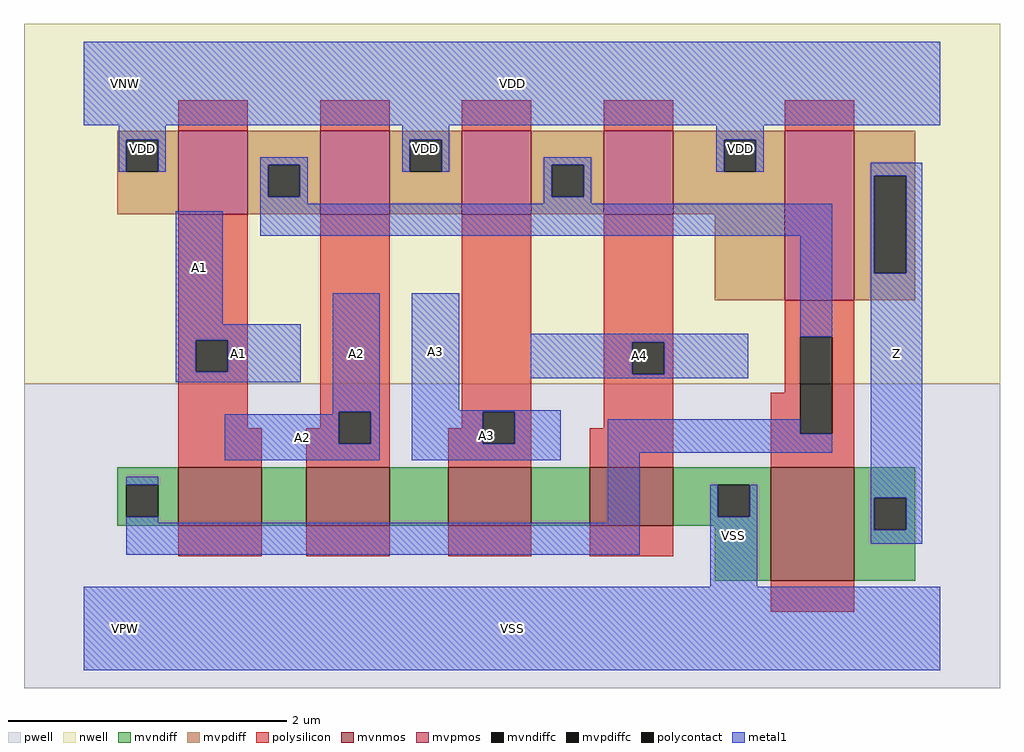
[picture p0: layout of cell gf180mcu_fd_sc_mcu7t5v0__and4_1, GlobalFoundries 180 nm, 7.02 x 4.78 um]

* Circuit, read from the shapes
.subckt gf180mcu_fd_sc_mcu7t5v0__and4_1 A1 A2 A3 A4 Z VDD VNW VPW VSS
XM1 n1 A1 n2 VPW nfet_06v0 w=0.42u l=0.6u
XM2 n3 A2 n1 VPW nfet_06v0 w=0.42u l=0.6u
XM3 n4 A3 n3 VPW nfet_06v0 w=0.42u l=0.6u
XM4 VSS A4 n4 VPW nfet_06v0 w=0.42u l=0.6u
XM5 Z n2 VSS VPW nfet_06v0 w=0.815u l=0.6u
XM6 n2 A1 VDD VNW pfet_06v0 w=0.6u l=0.5u
XM7 VDD A2 n2 VNW pfet_06v0 w=0.6u l=0.5u
XM8 n2 A3 VDD VNW pfet_06v0 w=0.6u l=0.5u
XM9 VDD A4 n2 VNW pfet_06v0 w=0.6u l=0.5u
XM10 Z n2 VDD VNW pfet_06v0 w=1.22u l=0.5u
.ends

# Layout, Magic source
magic
tech gf180mcuD
magscale 1 10
<< nwell >>
rect -86 352 1318 870
<< pwell >>
rect -86 -86 1318 352
<< mvnmos >>
rect 136 148 256 232
rect 320 148 440 232
rect 524 148 644 232
rect 728 148 848 232
rect 988 69 1108 232
<< mvpmos >>
rect 136 596 236 716
rect 340 596 440 716
rect 544 596 644 716
rect 748 596 848 716
rect 1008 472 1108 716
<< mvndiff >>
rect 48 207 136 232
rect 48 161 61 207
rect 107 161 136 207
rect 48 148 136 161
rect 256 148 320 232
rect 440 148 524 232
rect 644 148 728 232
rect 848 207 988 232
rect 848 161 912 207
rect 958 161 988 207
rect 848 148 988 161
rect 908 69 988 148
rect 1108 188 1196 232
rect 1108 142 1137 188
rect 1183 142 1196 188
rect 1108 69 1196 142
<< mvpdiff >>
rect 48 703 136 716
rect 48 657 61 703
rect 107 657 136 703
rect 48 596 136 657
rect 236 667 340 716
rect 236 621 265 667
rect 311 621 340 667
rect 236 596 340 621
rect 440 703 544 716
rect 440 657 469 703
rect 515 657 544 703
rect 440 596 544 657
rect 644 667 748 716
rect 644 621 673 667
rect 719 621 748 667
rect 644 596 748 621
rect 848 703 1008 716
rect 848 657 921 703
rect 967 657 1008 703
rect 848 596 1008 657
rect 908 472 1008 596
rect 1108 651 1196 716
rect 1108 511 1137 651
rect 1183 511 1196 651
rect 1108 472 1196 511
<< mvndiffc >>
rect 61 161 107 207
rect 912 161 958 207
rect 1137 142 1183 188
<< mvpdiffc >>
rect 61 657 107 703
rect 265 621 311 667
rect 469 657 515 703
rect 673 621 719 667
rect 921 657 967 703
rect 1137 511 1183 651
<< polysilicon >>
rect 136 716 236 760
rect 340 716 440 760
rect 544 716 644 760
rect 748 716 848 760
rect 1008 716 1108 760
rect 136 415 236 596
rect 136 369 161 415
rect 207 369 236 415
rect 136 288 236 369
rect 340 312 440 596
rect 340 288 367 312
rect 136 232 256 288
rect 320 266 367 288
rect 413 266 440 312
rect 544 312 644 596
rect 544 288 574 312
rect 320 232 440 266
rect 524 266 574 288
rect 620 266 644 312
rect 748 412 848 596
rect 748 366 789 412
rect 835 366 848 412
rect 748 288 848 366
rect 1008 420 1108 472
rect 1008 339 1031 420
rect 524 232 644 266
rect 728 232 848 288
rect 988 280 1031 339
rect 1077 280 1108 420
rect 988 232 1108 280
rect 136 104 256 148
rect 320 104 440 148
rect 524 104 644 148
rect 728 104 848 148
rect 988 24 1108 69
<< polycontact >>
rect 161 369 207 415
rect 367 266 413 312
rect 574 266 620 312
rect 789 366 835 412
rect 1031 280 1077 420
<< metal1 >>
rect 0 724 1232 844
rect 50 703 118 724
rect 50 657 61 703
rect 107 657 118 703
rect 458 703 526 724
rect 254 667 322 678
rect 254 621 265 667
rect 311 621 322 667
rect 458 657 469 703
rect 515 657 526 703
rect 910 703 978 724
rect 662 667 730 678
rect 254 611 322 621
rect 662 621 673 667
rect 719 621 730 667
rect 910 657 921 703
rect 967 657 978 703
rect 662 611 730 621
rect 1132 651 1206 670
rect 132 438 200 600
rect 254 565 1077 611
rect 132 415 312 438
rect 132 369 161 415
rect 207 369 312 415
rect 132 354 312 369
rect 358 312 426 482
rect 358 308 367 312
rect 203 266 367 308
rect 413 266 426 312
rect 203 242 426 266
rect 472 314 540 482
rect 643 412 956 424
rect 643 366 789 412
rect 835 366 956 412
rect 643 360 956 366
rect 1031 420 1077 565
rect 472 312 686 314
rect 472 266 574 312
rect 620 266 686 312
rect 472 242 686 266
rect 754 280 1031 301
rect 754 253 1077 280
rect 1132 511 1137 651
rect 1183 511 1206 651
rect 61 207 107 218
rect 61 152 107 161
rect 754 152 800 253
rect 61 106 800 152
rect 901 161 912 207
rect 958 161 969 207
rect 901 60 969 161
rect 1132 188 1206 511
rect 1132 142 1137 188
rect 1183 142 1206 188
rect 1132 122 1206 142
rect 0 -60 1232 60
<< labels >>
flabel metal1 s 472 314 540 482 0 FreeSans 400 0 0 0 A3
port 3 nsew default input
flabel metal1 s 643 360 956 424 0 FreeSans 400 0 0 0 A4
port 4 nsew default input
flabel metal1 s 0 724 1232 844 0 FreeSans 400 0 0 0 VDD
port 6 nsew power bidirectional abutment
flabel metal1 s 901 60 969 207 0 FreeSans 400 0 0 0 VSS
port 9 nsew ground bidirectional abutment
flabel metal1 s 1132 122 1206 670 0 FreeSans 400 0 0 0 Z
port 5 nsew default output
flabel metal1 s 132 438 200 600 0 FreeSans 400 0 0 0 A1
port 1 nsew default input
flabel metal1 s 358 308 426 482 0 FreeSans 400 0 0 0 A2
port 2 nsew default input
flabel nwell s 10 734 110 834 0 FreeSans 400 0 0 0 VNW
port 7 nsew power bidirectional
flabel pwell s 10 -50 110 50 0 FreeSans 400 0 0 0 VPW
port 8 nsew ground bidirectional
rlabel metal1 s 132 354 312 438 1 A1
port 1 nsew default input
rlabel metal1 s 203 242 426 308 1 A2
port 2 nsew default input
rlabel metal1 s 472 242 686 314 1 A3
port 3 nsew default input
rlabel metal1 s 910 657 978 724 1 VDD
port 6 nsew power bidirectional abutment
rlabel metal1 s 458 657 526 724 1 VDD
port 6 nsew power bidirectional abutment
rlabel metal1 s 50 657 118 724 1 VDD
port 6 nsew power bidirectional abutment
rlabel metal1 s 0 -60 1232 60 1 VSS
port 9 nsew ground bidirectional abutment
<< properties >>
string FIXED_BBOX 0 0 1232 784
string GDS_END 1236592
string GDS_FILE $PDKPATH/libs.ref/gf180mcu_fd_sc_mcu7t5v0/gds/gf180mcu_fd_sc_mcu7t5v0.gds
string GDS_START 1232850
string LEFclass core
string LEFsite GF018hv5v_mcu_sc7
string LEFsymmetry X Y
<< end >>
